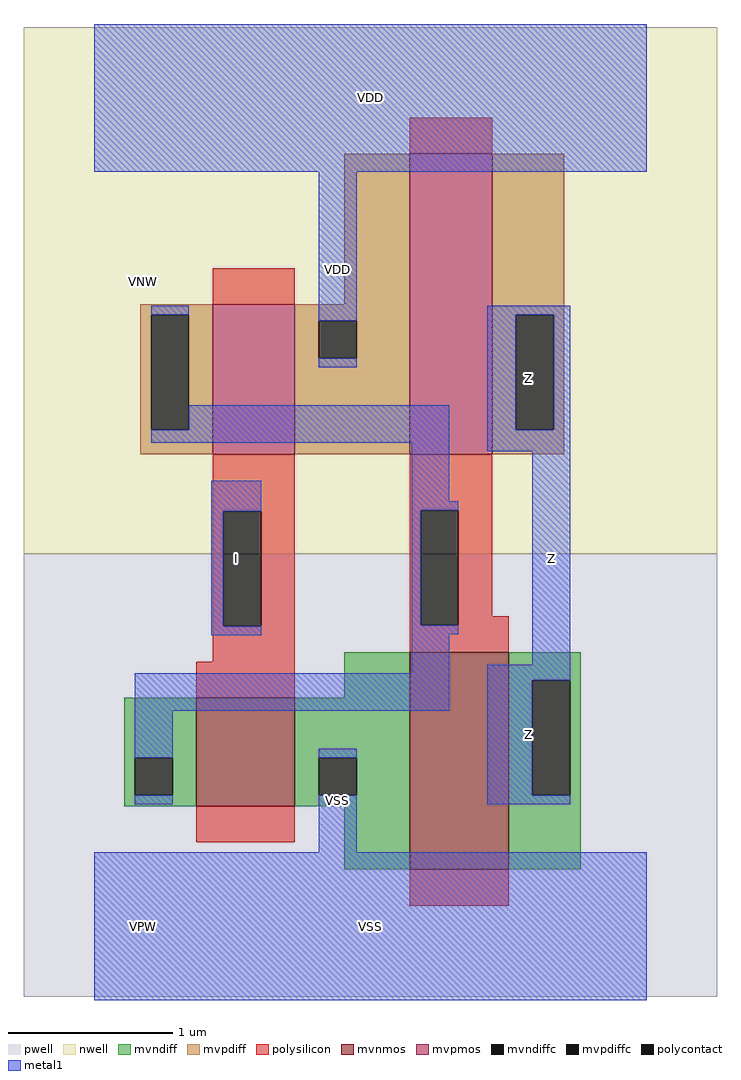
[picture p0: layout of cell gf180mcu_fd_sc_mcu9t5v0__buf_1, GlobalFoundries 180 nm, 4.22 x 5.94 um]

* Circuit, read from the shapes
.subckt gf180mcu_fd_sc_mcu9t5v0__buf_1 I Z VDD VNW VPW VSS
XM1 VSS I n1 VPW nfet_06v0 w=0.66u l=0.6u
XM2 Z n1 VSS VPW nfet_06v0 w=1.32u l=0.6u
XM3 VDD I n1 VNW pfet_06v0 w=0.915u l=0.5u
XM4 Z n1 VDD VNW pfet_06v0 w=1.83u l=0.5u
.ends

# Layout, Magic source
magic
tech gf180mcuD
magscale 1 10
<< nwell >>
rect -86 453 758 1094
<< pwell >>
rect -86 -86 758 453
<< mvnmos >>
rect 124 146 244 278
rect 384 69 504 333
<< mvpmos >>
rect 144 574 244 757
rect 384 574 484 940
<< mvndiff >>
rect 304 278 384 333
rect 36 205 124 278
rect 36 159 49 205
rect 95 159 124 205
rect 36 146 124 159
rect 244 205 384 278
rect 244 159 273 205
rect 319 159 384 205
rect 244 146 384 159
rect 304 69 384 146
rect 504 299 592 333
rect 504 159 533 299
rect 579 159 592 299
rect 504 69 592 159
<< mvpdiff >>
rect 304 757 384 940
rect 56 744 144 757
rect 56 604 69 744
rect 115 604 144 744
rect 56 574 144 604
rect 244 737 384 757
rect 244 691 273 737
rect 319 691 384 737
rect 244 574 384 691
rect 484 744 572 940
rect 484 604 513 744
rect 559 604 572 744
rect 484 574 572 604
<< mvndiffc >>
rect 49 159 95 205
rect 273 159 319 205
rect 533 159 579 299
<< mvpdiffc >>
rect 69 604 115 744
rect 273 691 319 737
rect 513 604 559 744
<< polysilicon >>
rect 384 940 484 984
rect 144 757 244 801
rect 144 505 244 574
rect 144 365 157 505
rect 203 365 244 505
rect 144 322 244 365
rect 384 506 484 574
rect 384 366 397 506
rect 443 377 484 506
rect 443 366 504 377
rect 384 333 504 366
rect 124 278 244 322
rect 124 102 244 146
rect 384 25 504 69
<< polycontact >>
rect 157 365 203 505
rect 397 366 443 506
<< metal1 >>
rect 0 918 672 1098
rect 69 744 115 755
rect 273 737 319 918
rect 273 680 319 691
rect 478 744 579 755
rect 115 604 432 634
rect 69 588 432 604
rect 142 505 203 542
rect 142 365 157 505
rect 142 354 203 365
rect 386 517 432 588
rect 478 604 513 744
rect 559 604 579 744
rect 478 578 579 604
rect 386 506 443 517
rect 386 366 397 506
rect 386 355 443 366
rect 386 308 432 355
rect 533 318 579 578
rect 49 262 432 308
rect 478 299 579 318
rect 49 205 95 262
rect 49 148 95 159
rect 273 205 319 216
rect 273 90 319 159
rect 478 159 533 299
rect 478 148 579 159
rect 0 -90 672 90
<< labels >>
flabel metal1 s 142 354 203 542 0 FreeSans 200 0 0 0 I
port 1 nsew default input
flabel metal1 s 0 918 672 1098 0 FreeSans 200 0 0 0 VDD
port 3 nsew power bidirectional abutment
flabel metal1 s 273 90 319 216 0 FreeSans 200 0 0 0 VSS
port 6 nsew ground bidirectional abutment
flabel metal1 s 478 578 579 755 0 FreeSans 200 0 0 0 Z
port 2 nsew default output
flabel nwell s 10 734 110 834 0 FreeSans 400 0 0 0 VNW
port 4 nsew power bidirectional
flabel pwell s 10 -50 110 50 0 FreeSans 400 0 0 0 VPW
port 5 nsew ground bidirectional
rlabel metal1 s 533 318 579 578 1 Z
port 2 nsew default output
rlabel metal1 s 478 148 579 318 1 Z
port 2 nsew default output
rlabel metal1 s 273 680 319 918 1 VDD
port 3 nsew power bidirectional abutment
rlabel metal1 s 0 -90 672 90 1 VSS
port 6 nsew ground bidirectional abutment
<< properties >>
string FIXED_BBOX 0 0 672 1008
string GDS_END 1261608
string GDS_FILE $PDKPATH/libs.ref/gf180mcu_fd_sc_mcu9t5v0/gds/gf180mcu_fd_sc_mcu9t5v0.gds
string GDS_START 1258770
string LEFclass core
string LEFsite GF018hv5v_green_sc9
string LEFsymmetry X Y
<< end >>
